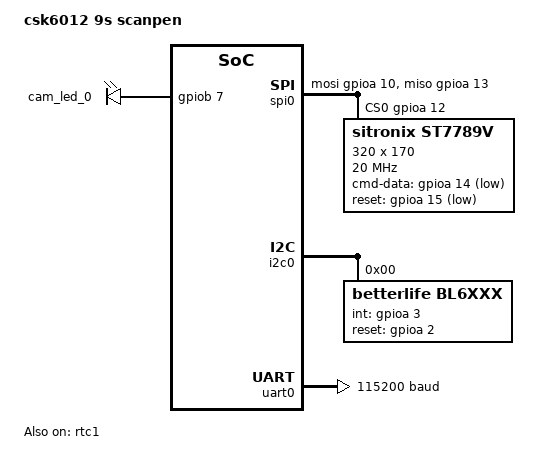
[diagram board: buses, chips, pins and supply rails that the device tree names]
/* SPDX-License-Identifier: Apache-2.0 */

/dts-v1/;
#include <csk/csk6001.dtsi>
#include <dt-bindings/pwm/pwm.h>

/ {
        model = "csk6012 9s scanpen";
        compatible = "csk,csk6012_9s_scanpen";
        aliases {
                // led0 = &board_led_2;
                i2c-0 = &i2c0;
                i2c-1 = &i2c1;
                c-led = &camleds1;
        };

        chosen {
                zephyr,console = &uart0;
                zephyr,shell-uart = &uart0;
                zephyr,sram = &sram0;
                zephyr,itcm = &itcm0;
                zephyr,flash = &flash0;
                /* other chosen settings  for your hardware */
        };



        leds {
                compatible = "gpio-leds";
                camleds1: cam_led_0 {
                        gpios = <&gpiob 7 0>;
                        label = "cam_led_0";
                };
        };
     
        /*
         * Your board-specific hardware: buttons, LEDs, sensors, etc.
         */
};

&spi0 {
        status = "okay";
        miso-gpios = <&gpioa 13 0>;
        mosi-gpios = <&gpioa 10 0>;
        sclk-gpios = <&gpioa 11 0>;
        cs-gpios = <&gpioa 12 0>;
    
            st7789v@0 {
                compatible = "sitronix,st7789v";
                label = "ST7789V";
                status = "okay";
                spi-max-frequency = <20000000>;
                reg = <0>;
                cmd-data-gpios = <&gpioa 14 1>;
                reset-gpios = <&gpioa 15 1>;
                width = <320>;
                height = <170>;
                x-offset = <0>;
                y-offset = <35>;
                // reg:0xBB
                vcom = <0x1e>;
                // reg:0xB7
                gctrl = <0x35>;
                // reg:0xC3
                vrhs = <0x0b>;
                // reg:0xC4
                vdvs = <0x20>;
                // reg:0x36
                mdac = <0xA3>;
                // reg:0x26
                gamma = <0x01>;
                // reg:0x3a
                colmod = <0x05>;
                // reg:0xc0
                lcm = <0x2c>;
                // reg:0xb2
                porch-param = [0c 0c 00 33 33];
                // reg:0xDF
                cmd2en-param = [5a 69 02 01];
                // reg:0xD0
                pwctrl1-param = [a4 a1];
                // reg:0xE0
                pvgam-param = [d0 06 0b 07 07 24 2e 32 46 37 13 13 2d 33];
                // reg:0xE1
                nvgam-param = [d0 02 06 09 08 05 29 44 42 38 14 14 2a 30];
                // reg:b0
                ram-param = [00 F0];
                // reg:b1
                rgb-param = [CD 08 14];
            };
    };
&spi1 {
    status = "disabled";

};
&i2c0 {
        status = "okay";
        pinmuxs = <&pinmuxb 2 8>, <&pinmuxb 3 8>;
        pinmux-names = "SCL", "SDA";

        bl6xxx@0 {
                compatible = "betterlife,bl6xxx";
                reg = <0>;
                label = "BL6XXX";
                status = "okay";
                int-gpios = <&gpioa 3 0>;
                reset-gpios = <&gpioa 2 0>;
        };
};

&i2c1 {
    status = "disabled";
};

&gpioa {
        status = "okay";
};

&gpiob {
        status = "okay";
};


&uart0 {
        current-speed = <115200>;
        pinmuxs = <&pinmuxb 10 2>, <&pinmuxb 11 2>;
	// pinmux-names = "RXD", "TXD";
        status = "okay";
};
&uart1 {
        status = "disabled";
};

&uart2 {
        status = "disabled";
};
&dma0 {
	dma-channels = <6>;
	status = "okay";
};

&rtc1 {
        status = "okay";
};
